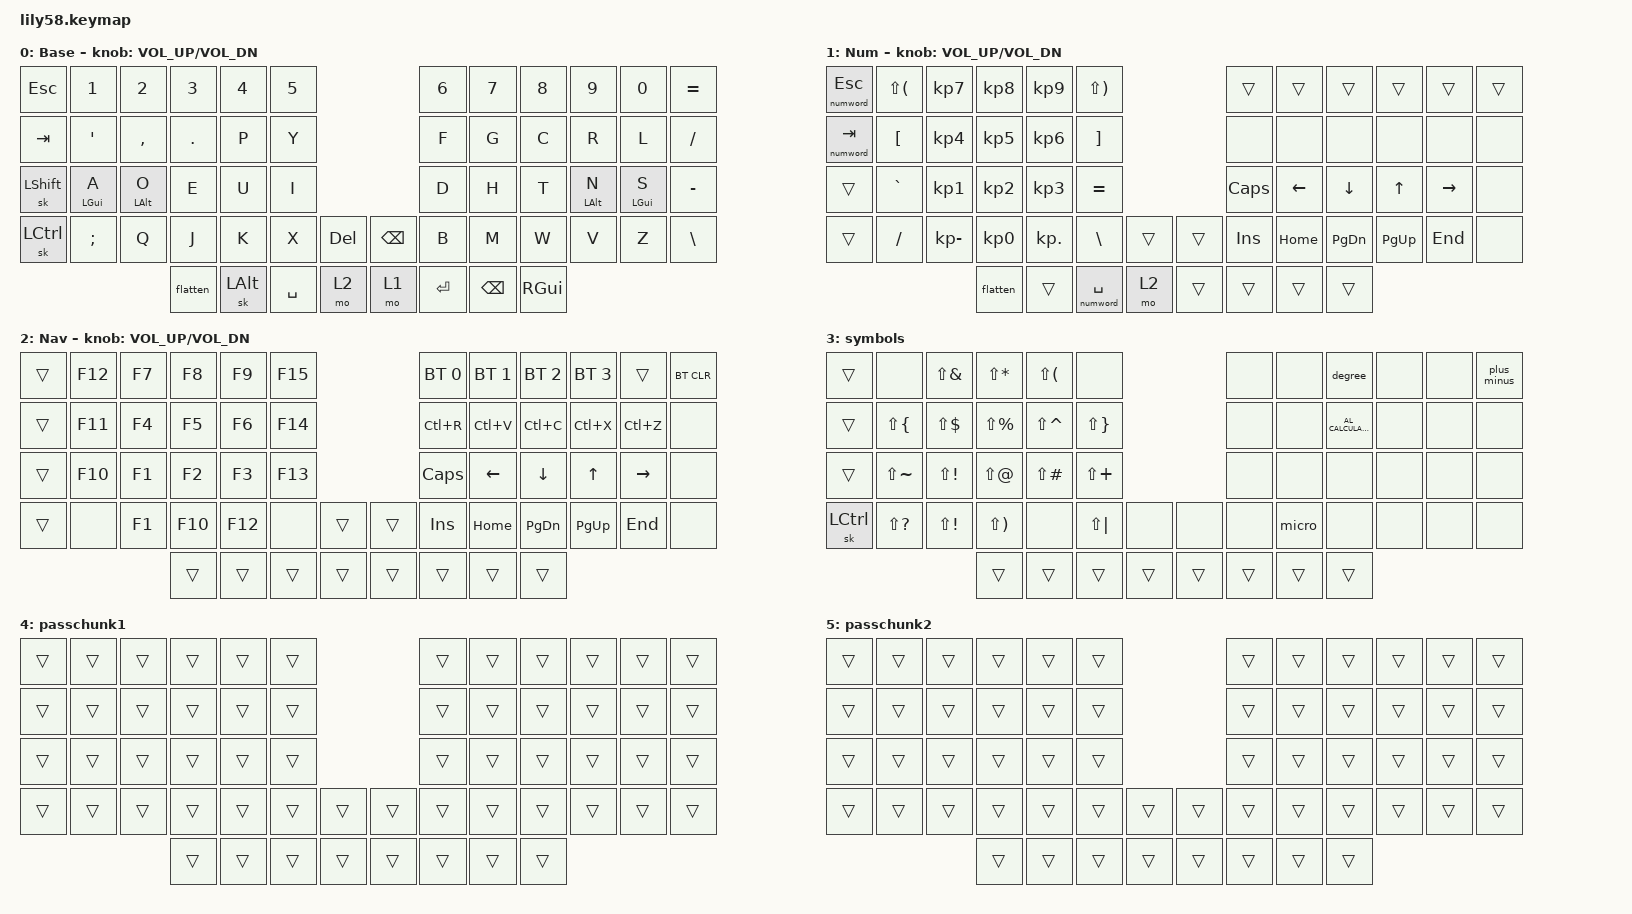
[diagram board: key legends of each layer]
/*
 * Copyright (c) 2020 The ZMK Contributors
 *
 * SPDX-License-Identifier: MIT
 */

#include <behaviors.dtsi>
#include <dt-bindings/zmk/bt.h>
#include <dt-bindings/zmk/keys.h>
#include <dt-bindings/zmk/pointing.h>

&mt { flavor = "tap-preferred"; };

/ {
    combos {
        compatible = "zmk,combos";

        escape {
            bindings = <&kp ESCAPE>;
            key-positions = <14 15>;
        };

        enter {
            bindings = <&kp ENTER>;
            key-positions = <15 16>;
            layers = <0 2 3>;
        };

        backspace {
            bindings = <&kp BACKSPACE>;
            key-positions = <16 17>;
        };

        copy {
            bindings = <&kp LC(C)>;
            key-positions = <38 39>;
        };

        paste {
            bindings = <&kp LC(V)>;
            key-positions = <39 40>;
        };

        delete {
            bindings = <&kp DELETE>;
            key-positions = <40 41>;
        };

        nwenter {
            bindings = <&numword ENTER>;
            key-positions = <15 16>;
            layers = <1>;
        };

        numenter {
            bindings = <&kp KP_ENTER>;
            key-positions = <28 40>;
            layers = <1>;
        };

        comma {
            bindings = <&commaspace>;
            key-positions = <14 26>;
            layers = <1>;
        };

        ctrl-a {
            bindings = <&kp LC(A)>;
            key-positions = <24 25>;
        };

        alt-o {
            bindings = <&kp LA(O)>;
            key-positions = <25 26>;
        };

        pwdshortcut {
            bindings = <&kp LC(SEMICOLON)>;
            key-positions = <36 37>;
        };

        symbol {
            bindings = <&sl 3>;
            key-positions = <36 24>;
        };

        scrollup {
            bindings = <&msc SCRL_UP>;
            key-positions = <5 17>;
        };

        scrolldown {
            bindings = <&msc SCRL_DOWN>;
            key-positions = <29 41>;
        };

        cut {
            bindings = <&kp LC(X)>;
            key-positions = <38 40>;
        };
    };

    macros {
        plus_minus: plus_minus {
            compatible = "zmk,behavior-macro";
            #binding-cells = <0>;
            bindings =
                <&macro_press>,
                <&kp LEFT_ALT>,
                <&macro_tap>,
                <&kp KP_NUMBER_0 &kp KP_NUMBER_1 &kp KP_NUMBER_7 &kp KP_NUMBER_7>,
                <&macro_release>,
                <&kp LEFT_ALT>;

            label = "PLUS_MINUS";
        };

        degree: degree {
            compatible = "zmk,behavior-macro";
            #binding-cells = <0>;
            bindings =
                <&macro_press>,
                <&kp LALT>,
                <&macro_tap>,
                <&kp KP_NUMBER_0 &kp KP_NUMBER_1 &kp KP_NUMBER_7 &kp KP_NUMBER_6>,
                <&macro_release>,
                <&kp LEFT_ALT>;

            label = "DEGREE";
        };

        numword: numword {
            compatible = "zmk,behavior-macro-one-param";
            #binding-cells = <1>;
            bindings = <&to 0 &macro_param_1to1 &kp MACRO_PLACEHOLDER>;
            label = "NUMWORD";
        };

        commaspace: commaspace {
            compatible = "zmk,behavior-macro";
            #binding-cells = <0>;
            bindings = <&kp COMMA &kp SPACE>;
            label = "COMMASPACE";
        };

        micro: micro {
            compatible = "zmk,behavior-macro";
            #binding-cells = <0>;
            bindings =
                <&macro_press>,
                <&kp LALT>,
                <&macro_tap>,
                <&kp KP_NUMBER_0 &kp KP_NUMBER_1 &kp KP_NUMBER_8 &kp KP_NUMBER_1>,
                <&macro_release>,
                <&kp LEFT_ALT>;

            label = "MICRO";
        };
    };

    behaviors {
        ctrl_sym: ctrl_sym {
            compatible = "zmk,behavior-tap-dance";
            label = "Ctrl/StickySym";
            #binding-cells = <0>;
            bindings = <&sk LCTRL>, <&sl 3>;
        };

        shiftmorph: shiftmorph {
            compatible = "zmk,behavior-mod-morph";
            label = "SHIFTMORPH";
            bindings = <&sk LSHIFT>, <&caps_word>;

            #binding-cells = <0>;
            mods = <(MOD_LSFT)>;
        };

        flatten: flatten {
            compatible = "zmk,behavior-tap-dance";
            label = "Return to base on tap-dance";
            #binding-cells = <0>;
            bindings = <&to 1>, <&to 0>;
        };

        mtl: mtl {
            compatible = "zmk,behavior-hold-tap";
            label = "Mod-Tap (Left)";
            bindings = <&kp>, <&kp>;

            #binding-cells = <2>;
            tapping-term-ms = <280>;
            quick-tap-ms = <175>;
            require-prior-idle-ms = <150>;
            flavor = "balanced";
            hold-trigger-on-release;
            hold-trigger-key-positions = <50 51 52 53 6 7 8 9 10 11 18 19 20 21 22 23 30 31 32 33 34 35 43 44 45 46 47 48 49 54 55 56 57>;
        };

        mtr: mtr {
            compatible = "zmk,behavior-hold-tap";
            label = "Mod-Tap (Right)";
            bindings = <&kp>, <&kp>;

            #binding-cells = <2>;
            tapping-term-ms = <280>;
            quick-tap-ms = <175>;
            require-prior-idle-ms = <150>;
            flavor = "balanced";
            hold-trigger-on-release;
            hold-trigger-key-positions = <50 51 52 53 54 55 56 57 0 1 2 3 4 5 12 13 14 15 16 17 24 25 26 27 28 29 36 37 38 39 40 41 42 50 51 52 53>;
        };
    };

    keymap {
        compatible = "zmk,keymap";

        default_layer {
            // ------------------------------------------------------------------------------------------------------------
            // |  ESC  |  1  |  2  |  3   |  4   |  5   |                   |  6   |  7    |  8    |  9   |   0   |   `   |
            // |  TAB  |  Q  |  W  |  E   |  R   |  T   |                   |  Y   |  U    |  I    |  O   |   P   |   -   |
            // |  CTRL |  A  |  S  |  D   |  F   |  G   |                   |  H   |  J    |  K    |  L   |   ;   |   '   |
            // | SHIFT |  Z  |  X  |  C   |  V   |  B   |   "["  |  |  "]"  |  N   |  M    |  ,    |  .   |   /   | SHIFT |
            //                     | ALT  | GUI  | LOWER|  SPACE |  | ENTER | RAISE| BSPC  | GUI   |

            display-name = "Base";
            bindings = <
&kp ESC     &kp N1           &kp N2       &kp N3    &kp N4        &kp N5                          &kp N6     &kp N7    &kp N8    &kp N9       &kp N0       &kp EQUAL
&kp TAB     &kp SQT          &kp COMMA    &kp DOT   &kp P         &kp Y                           &kp F      &kp G     &kp C     &kp R        &kp L        &kp FSLH
&sk LSHIFT  &mtl LEFT_GUI A  &mtl LALT O  &kp E     &kp U         &kp I                           &kp D      &kp H     &kp T     &mtr LALT N  &mtr LGUI S  &kp MINUS
&sk LCTRL   &kp SEMI         &kp Q        &kp J     &kp K         &kp X      &kp DEL    &kp BSPC  &kp B      &kp M     &kp W     &kp V        &kp Z        &kp BSLH
                                          &flatten  &sk LEFT_ALT  &kp SPACE  &mo 2      &mo 1     &kp ENTER  &kp BSPC  &kp RGUI
            >;

            sensor-bindings = <&inc_dec_kp C_VOL_UP C_VOL_DN>;
        };

        num_layer {
            // ------------------------------------------------------------------------------------------------------------
            // |       |     |     |      |      |      |                   |      |       |       |      |       |       |
            // |   `   |  1  |  2  |  3   |  4   |  5   |                   |  6   |   7   |   8   |  9   |   0   |       |
            // |   F1  |  F2 |  F3 |  F4  |  F5  |  F6  |                   |      |   <-  |   v   |  ^   |  ->   |       |
            // |   F7  |  F8 |  F9 |  F10 |  F11 |  F12 |        |  |       |  +   |   -   |   =   |  [   |   ]   |   \   |
            //                     |      |      |      |        |  |       |      |       |       |

            display-name = "Num";
            bindings = <
&numword ESCAPE  &kp LS(LPAR)  &kp KP_NUMBER_7  &kp KP_NUMBER_8  &kp KP_NUMBER_9  &kp LS(RPAR)                      &trans        &trans    &trans     &trans     &trans     &trans
&numword TAB     &kp LBKT      &kp KP_NUMBER_4  &kp KP_NUMBER_5  &kp KP_NUMBER_6  &kp RBKT                          &none         &none     &none      &none      &none      &none
&trans           &kp GRAVE     &kp KP_NUMBER_1  &kp KP_NUMBER_2  &kp KP_NUMBER_3  &kp EQUAL                         &kp CAPSLOCK  &kp LEFT  &kp DOWN   &kp UP     &kp RIGHT  &none
&trans           &kp FSLH      &kp KP_MINUS     &kp KP_NUMBER_0  &kp KP_DOT       &kp BSLH        &trans    &trans  &kp INS       &kp HOME  &kp PG_DN  &kp PG_UP  &kp END    &none
                                                &flatten         &trans           &numword SPACE  &mo 2     &trans  &trans        &trans    &trans
            >;

            sensor-bindings = <&inc_dec_kp C_VOL_UP C_VOL_DN>;
            label = "Num";
        };

        nav_layer {
            // ------------------------------------------------------------------------------------------------------------
            // | BTCLR | BT1 | BT2 |  BT3 |  BT4 |  BT5 |                   |      |       |       |      |       |       |
            // |  F1   |  F2 |  F3 |  F4  |  F5  |  F6  |                   |  F7  |  F8   |  F9   |  F10 |  F11  |  F12  |
            // |   `   |  !  |  @  |  #   |  $   |  %   |                   |  ^   |  &    |  *    |  (   |   )   |   ~   |
            // |       |     |     |      |      |      |        |  |       |      |  _    |  +    |  {   |   }   |  "|"  |
            //                     |      |      |      |        |  |       |      |       |       |

            display-name = "Nav";
            bindings = <
&trans  &kp F12  &kp F7  &kp F8   &kp F9   &kp F15                    &bt BT_SEL 0  &bt BT_SEL 1  &bt BT_SEL 2   &bt BT_SEL 3  &trans     &bt BT_CLR
&trans  &kp F11  &kp F4  &kp F5   &kp F6   &kp F14                    &kp LC(R)     &kp LC(V)     &kp LC(C)      &kp LC(X)     &kp LC(Z)  &none
&trans  &kp F10  &kp F1  &kp F2   &kp F3   &kp F13                    &kp CAPSLOCK  &kp LEFT      &kp DOWN       &kp UP_ARROW  &kp RIGHT  &none
&trans  &none    &kp F1  &kp F10  &kp F12  &none    &trans    &trans  &kp INS       &kp HOME      &kp PAGE_DOWN  &kp PG_UP     &kp END    &none
                         &trans   &trans   &trans   &trans    &trans  &trans        &trans        &trans
            >;

            sensor-bindings = <&inc_dec_kp C_VOL_UP C_VOL_DN>;
            label = "nav / func";
        };

        sym_layer {
            bindings = <
&trans     &none               &kp LS(AMPS)  &kp LS(STAR)   &kp LS(LPAR)   &none                                  &none   &none   &degree              &none  &none  &plus_minus
&trans     &kp LS(LEFT_BRACE)  &kp LS(DLLR)  &kp LS(PRCNT)  &kp LS(CARET)  &kp LS(RIGHT_BRACE)                    &none   &none   &kp C_AL_CALCULATOR  &none  &none  &none
&trans     &kp LS(TILDE)       &kp LS(EXCL)  &kp LS(AT)     &kp LS(POUND)  &kp LS(PLUS)                           &none   &none   &none                &none  &none  &none
&sk LCTRL  &kp LS(QMARK)       &kp LS(EXCL)  &kp LS(RPAR)   &none          &kp LS(PIPE)         &none     &none   &none   &micro  &none                &none  &none  &none
                                             &trans         &trans         &trans               &trans    &trans  &trans  &trans  &trans
            >;

            label = "symbols";
        };

        passchunk1 {
            bindings = <
&trans  &trans  &trans  &trans  &trans  &trans                    &trans  &trans  &trans  &trans  &trans  &trans
&trans  &trans  &trans  &trans  &trans  &trans                    &trans  &trans  &trans  &trans  &trans  &trans
&trans  &trans  &trans  &trans  &trans  &trans                    &trans  &trans  &trans  &trans  &trans  &trans
&trans  &trans  &trans  &trans  &trans  &trans  &trans    &trans  &trans  &trans  &trans  &trans  &trans  &trans
                        &trans  &trans  &trans  &trans    &trans  &trans  &trans  &trans
            >;
        };

        passchunk2 {
            bindings = <
&trans  &trans  &trans  &trans  &trans  &trans                    &trans  &trans  &trans  &trans  &trans  &trans
&trans  &trans  &trans  &trans  &trans  &trans                    &trans  &trans  &trans  &trans  &trans  &trans
&trans  &trans  &trans  &trans  &trans  &trans                    &trans  &trans  &trans  &trans  &trans  &trans
&trans  &trans  &trans  &trans  &trans  &trans  &trans    &trans  &trans  &trans  &trans  &trans  &trans  &trans
                        &trans  &trans  &trans  &trans    &trans  &trans  &trans  &trans
            >;
        };
    };
};
